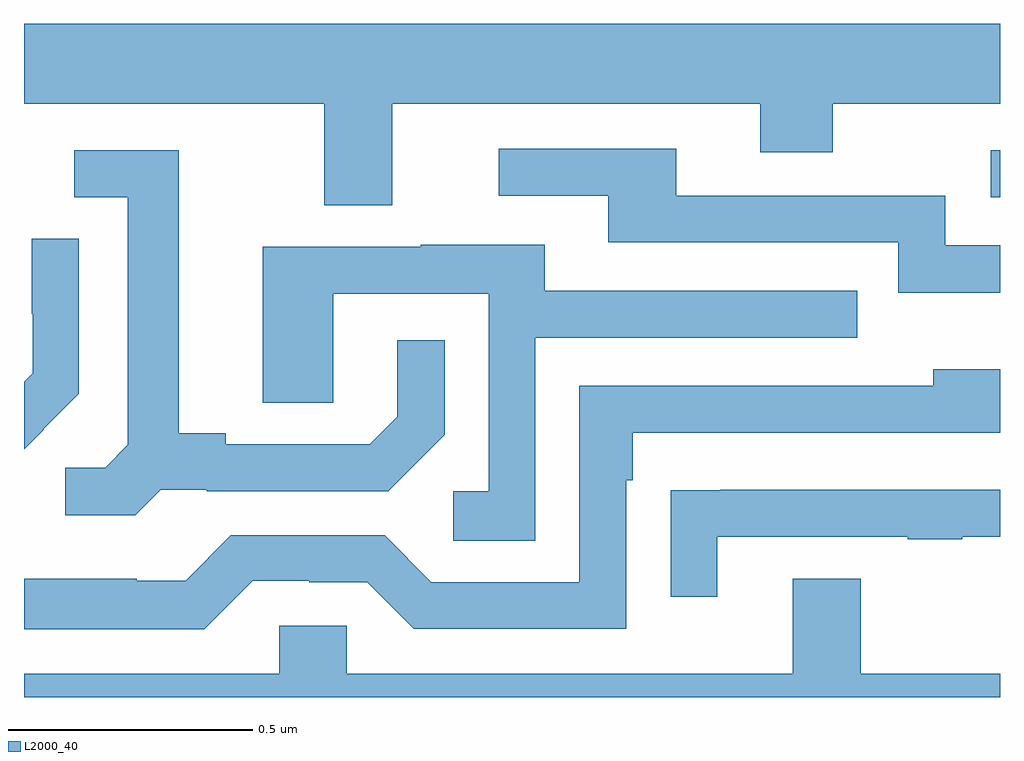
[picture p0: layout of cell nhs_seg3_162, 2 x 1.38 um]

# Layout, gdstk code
import gdstk
lib = gdstk.Library(unit=1e-6, precision=1e-09)
def R(c, l, rs):  # rectangles x0, y0, x1, y1
    for r in rs: c.add(gdstk.rectangle(r[:2], r[2:], *l))
def P(c, l, *ps):  # polygons
    for p in ps: c.add(gdstk.Polygon(p, *l))
L2000_40 = (2000, 40)

nhs_seg3_162 = lib.new_cell('nhs_seg3_162')
R(nhs_seg3_162, L2000_40, [(114.981,667.425,115,667.521)])
P(nhs_seg3_162, L2000_40, [(113.755,667.616),(114.509,667.616),(114.509,667.517),(114.657,667.517),(114.657,667.616),(115,667.616),(115,667.78),(113,667.78),(113,667.616),(113.615,667.616),(113.615,667.408),(113.755,667.408)],
  [(115,667.326),(114.888,667.326),(114.888,667.428),(114.337,667.428),(114.337,667.524),(113.973,667.524),(113.973,667.428),(114.197,667.428),(114.197,667.332),(114.792,667.332),(114.792,667.229),(115,667.229)],
  [(113.28,666.825),(113.374,666.825),(113.374,666.822),(113.746,666.822),(113.862,666.938),(113.862,667.132),(113.765,667.132),(113.765,666.975),(113.708,666.918),(113.413,666.918),(113.413,666.941),(113.317,666.941),(113.317,667.521),(113.103,667.521),(113.103,667.425),(113.213,667.425),(113.213,666.917),(113.166,666.87),(113.085,666.87),(113.085,666.773),(113.228,666.773)],
  [(113.04,666.948),(113.039,666.949),(113.112,667.022),(113.112,667.34),(113.016,667.34),(113.016,667.186),(113.018,667.186),(113.018,667.064),(113,667.046),(113,666.908)],
  [(114.048,667.137),(114.707,667.137),(114.707,667.233),(114.067,667.233),(114.067,667.327),(113.813,667.327),(113.813,667.323),(113.489,667.323),(113.489,667.003),(113.634,667.003),(113.634,667.227),(113.952,667.227),(113.952,666.822),(113.88,666.822),(113.88,666.721),(114.048,666.721)],
  [(113.469,666.639),(113.585,666.639),(113.585,666.636),(113.703,666.636),(113.799,666.54),(114.234,666.54),(114.234,666.845),(114.247,666.845),(114.247,666.942),(115,666.942),(115,667.072),(114.863,667.072),(114.863,667.038),(114.138,667.038),(114.138,666.636),(113.835,666.636),(113.739,666.732),(113.424,666.732),(113.331,666.639),(113.231,666.639),(113.231,666.643),(113,666.643),(113,666.539),(113.369,666.539)],
  [(114.421,666.729),(114.811,666.729),(114.811,666.724),(114.923,666.724),(114.923,666.729),(115,666.729),(115,666.825),(114.427,666.825),(114.427,666.824),(114.325,666.824),(114.325,666.606),(114.421,666.606)],
  [(115,666.448),(114.715,666.448),(114.715,666.643),(114.575,666.643),(114.575,666.448),(113.661,666.448),(113.661,666.546),(113.523,666.546),(113.523,666.448),(113,666.448),(113,666.4),(115,666.4)])

lib.write_gds('nhs_seg3_162.gds')
